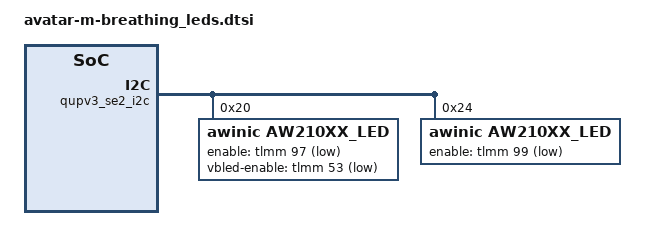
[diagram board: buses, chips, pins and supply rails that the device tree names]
&qupv3_se2_i2c {
	status = "ok";
	qcom,clk-freq-out = <400000>;
	aw210xx_led@20 {
		compatible = "awinic,aw210xx_led";
		reg = <0x20>;

		/* Power Config */
		enable-gpio = <&tlmm 97 0x1>;
		vbled-enable-gpio = <&tlmm 53 0x1>;

		aw210xx_led_id = <0>;
		led_groups_num = <8>;
		led_allocation_order = <1 3 5 7 2 4 6 8>;
		global_current = <0xcc>;
		osc_clk = <1>;
		br_res = <1>;
		chipid = <0x22>;
		status = "okay";
		// pinctrl-names = "default";
		// pinctrl-0 = <&aw21xx_enable_pin_default>;
		aw210xx,red {
			aw210xx,name = "red";
			aw210xx,id = <0>;
			aw210xx,imax = <1>;
			aw210xx,led_default_trigger = "none";
			aw210xx,brightness = <0>;
			aw210xx,max-brightness = <255>;
			aw210xx,rise-time-ms = <5>;
			aw210xx,hold-time-ms = <0>;
			aw210xx,fall-time-ms = <0>;
			aw210xx,off-time-ms = <0>;
			aw210xx,color_ratio = <2 3>;
		};
		aw210xx,green {
			aw210xx,name = "green";
			aw210xx,id = <1>;
			aw210xx,imax = <1>;
			aw210xx,led_default_trigger = "none";
			aw210xx,brightness = <0>;
			aw210xx,max-brightness = <255>;
			aw210xx,rise-time-ms = <5>;
			aw210xx,hold-time-ms = <0>;
			aw210xx,fall-time-ms = <0>;
			aw210xx,off-time-ms = <0>;
			aw210xx,color_ratio = <2 3>;
		};
		aw210xx,blue {
			aw210xx,name = "blue";
			aw210xx,id = <2>;
			aw210xx,imax = <1>;
			aw210xx,led_default_trigger = "none";
			aw210xx,brightness = <0>;
			aw210xx,max-brightness = <255>;
			aw210xx,rise-time-ms = <5>;
			aw210xx,hold-time-ms = <0>;
			aw210xx,fall-time-ms = <0>;
			aw210xx,off-time-ms = <0>;
			aw210xx,color_ratio = <1 3>;
		};
	};

	aw210xx_led@24 {
		compatible = "awinic,aw210xx_led";
		reg = <0x24>;
		enable-gpio = <&tlmm 99 0x1>;
		aw210xx_led_id = <1>;
		led_groups_num = <8>;
		led_allocation_order = <1 3 5 7 2 4 6 8>;
		global_current = <0xcc>;
		osc_clk = <1>;
		br_res = <1>;
		chipid = <0x22>;
		status = "okay";
		// pinctrl-names = "default";
		// pinctrl-0 = <&aw21xx_enable_pin_default2>;
		aw210xx,red {
			aw210xx,name = "red";
			aw210xx,id = <0>;
			aw210xx,imax = <1>;
			aw210xx,led_default_trigger = "none";
			aw210xx,brightness = <0>;
			aw210xx,max-brightness = <255>;
			aw210xx,rise-time-ms = <5>;
			aw210xx,hold-time-ms = <0>;
			aw210xx,fall-time-ms = <0>;
			aw210xx,off-time-ms = <0>;
			aw210xx,color_ratio = <2 3>;
		};
		aw210xx,green {
			aw210xx,name = "green";
			aw210xx,id = <1>;
			aw210xx,imax = <1>;
			aw210xx,led_default_trigger = "none";
			aw210xx,brightness = <0>;
			aw210xx,max-brightness = <255>;
			aw210xx,rise-time-ms = <5>;
			aw210xx,hold-time-ms = <0>;
			aw210xx,fall-time-ms = <0>;
			aw210xx,off-time-ms = <0>;
			aw210xx,color_ratio = <2 3>;
		};
		aw210xx,blue {
			aw210xx,name = "blue";
			aw210xx,id = <2>;
			aw210xx,imax = <1>;
			aw210xx,led_default_trigger = "none";
			aw210xx,brightness = <0>;
			aw210xx,max-brightness = <255>;
			aw210xx,rise-time-ms = <5>;
			aw210xx,hold-time-ms = <0>;
			aw210xx,fall-time-ms = <0>;
			aw210xx,off-time-ms = <0>;
			aw210xx,color_ratio = <1 3>;
		};
	};
};
